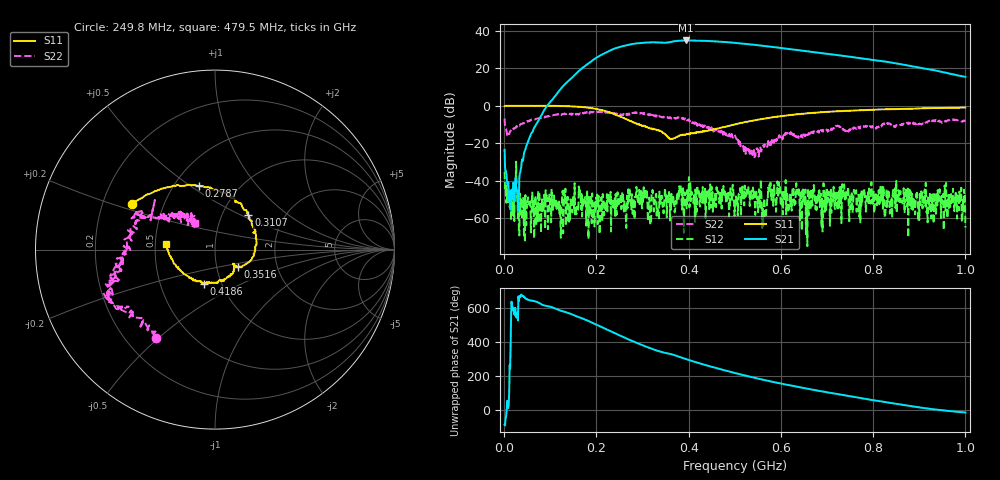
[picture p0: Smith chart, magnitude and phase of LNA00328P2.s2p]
! Created with skrf 1.9.0 (http://scikit-rf.org).
# Hz S RI R 50.0
!freq ReS11 ImS11 ReS21 ImS21 ReS12 ImS12 ReS22 ImS22
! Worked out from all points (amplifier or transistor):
!   1001 points, 1 MHz to 1 GHz, reference 50 ohm
!   highest |S21| = 34.9 dB at 394.6 MHz (marker M1)
!   |S21| within 3 dB of that: 257.4 MHz to 566.3 MHz (308.8 MHz wide, 75 % of centre) (the widest 1 of 2)
!   unconditionally stable (mu >= 1): start of sweep to 67.72 MHz; 296.8 MHz to 400.3 MHz; 400.8 MHz to end of sweep (the widest 3 of 32)
!   at 166.8 MHz: K = 2.60, MAG = 30.4 dB, |S12| = -55.3 dB
!   at 500.5 MHz: K = 3.50, MAG = 34.3 dB, |S12| = -51.6 dB
!   at 1 GHz: K = 24.22, MAG = 23.4 dB, |S12| = -65.0 dB
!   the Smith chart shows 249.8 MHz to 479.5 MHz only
!   S11 on the Smith chart (normalised r, x): 249.8 MHz: 0.33, +0.23; 278.7 MHz: 0.66, +0.54; 310.7 MHz: 1.33, +0.55; 351.6 MHz: 1.26, -0.25; 418.6 MHz: 0.82, -0.33; 479.5 MHz: 0.57, +0.04
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1000000  0.9769 -0.00305  0.00178 -0.0667  -0.0162 -0.00591  0.3303 0.3088
1.07893e8  0.5165 -0.8522  -0.777 -1.473  -0.00346 0.00202  0.4229 -0.3795
1.67833e8  -0.2578 -0.8943  -9.847 -0.3684  -0.00462 0.00135  0.0241 -0.6229
2.11789e8  -0.6965 -0.3218  -14.81 18.12  0.000836 0.00253  -0.2082 -0.6463
2.29771e8  -0.6543 -0.0161  -8.177 28.87  -0.000564 -0.00237  -0.2731 -0.6042
2.49751e8  -0.4634 0.2547  6.333 36.56  0.000217 0.00276  -0.3288 -0.4918
2.78722e8  -0.0904 0.3533  31.37 31.84  0.000462 -0.0012  -0.5652 -0.3063
3.1069e8  0.1864 0.191  48.16 8.706  -0.00198 0.00132  -0.5731 -0.1653
3.34666e8  0.2201 -0.0188  48.08 -11.11  -0.000632 0.000759  -0.5305 -0.0466
3.51649e8  0.1276 -0.0967  43.96 -20.65  0.000106 0.00403  -0.4886 0.0132
3.71629e8  0.1069 -0.0929  41.26 -34.08  -0.000663 0.00184  -0.4219 0.1631
3.94606e8  0.0582 -0.1642  27.16 -48.57  -0.001 0.00274  -0.3949 0.1866
4.18582e8  -0.0625 -0.1903  8.471 -54.14  0.00189 0.00712  -0.2302 0.1794
4.45555e8  -0.1854 -0.1246  -11.6 -52.16  0.00151 0.00293  -0.1706 0.1799
4.79521e8  -0.2731 0.0321  -31.07 -39.85  0.0023 0.00385  -0.109 0.1506
5.005e8  -0.2815 0.1485  -38.47 -29.03  -0.00227 0.00136  -0.0928 0.1314
5.4046e8  -0.1929 0.3554  -42 -7.871  0.00338 0.000579  -0.055 0.0253
5.88412e8  0.0258 0.5029  -34.58 11.88  0.00178 -0.00262  -0.1043 -0.0669
6.67333e8  0.4069 0.4963  -13.29 23.9  0.00226 -0.00186  -0.1813 -0.0617
7.53247e8  0.6881 0.2763  4.158 19.62  -0.00492 0.00128  -0.2509 -0.0179
8.34166e8  0.8055 0.00442  10.89 9.73  -0.00489 -0.000645  -0.3322 -0.039
1e9  0.7189 -0.5405  5.699 -1.688  0.000283 0.000483  -0.3372 0.1972
